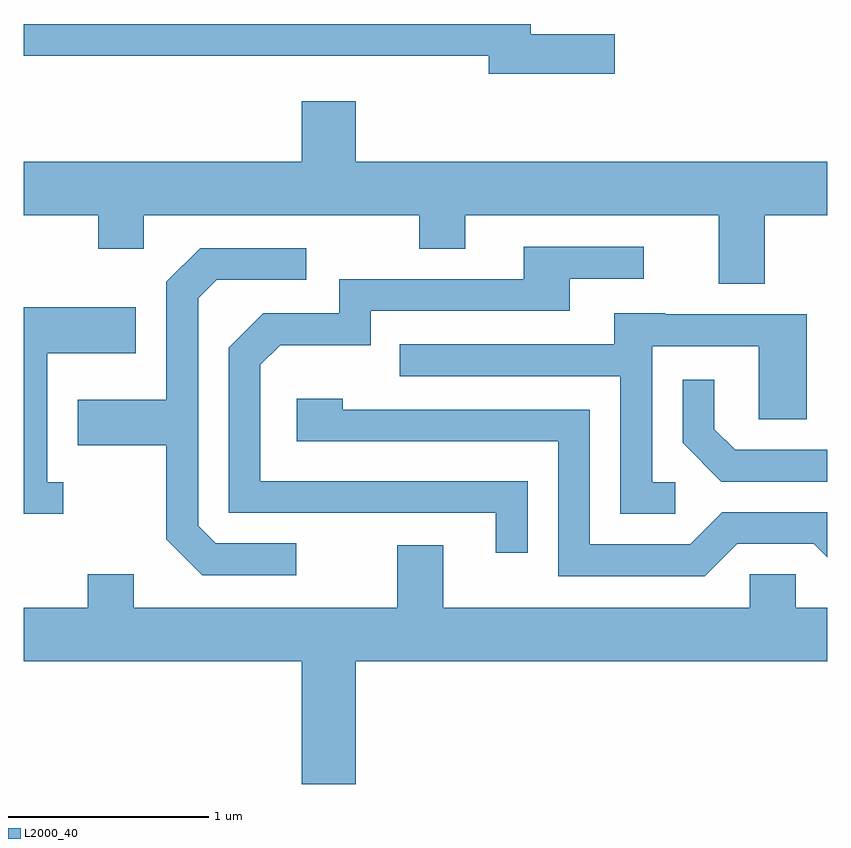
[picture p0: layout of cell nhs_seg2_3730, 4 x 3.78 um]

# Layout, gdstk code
import gdstk
lib = gdstk.Library(unit=1e-6, precision=1e-09)
def P(c, l, *ps):  # polygons
    for p in ps: c.add(gdstk.Polygon(p, *l))
L2000_40 = (2000, 40)

nhs_seg2_3730 = lib.new_cell('nhs_seg2_3730')
P(nhs_seg2_3730, L2000_40, [(296.554,1113.599),(296.134,1113.599),(296.134,1113.649),(293.611,1113.649),(293.611,1113.491),(295.926,1113.491),(295.926,1113.401),(296.554,1113.401)],
  [(297.299,1112.696),(297.611,1112.696),(297.611,1112.964),(295.264,1112.964),(295.264,1113.264),(294.996,1113.264),(294.996,1112.964),(293.611,1112.964),(293.611,1112.696),(293.981,1112.696),(293.981,1112.531),(294.209,1112.531),(294.209,1112.696),(295.581,1112.696),(295.581,1112.531),(295.809,1112.531),(295.809,1112.696),(297.071,1112.696),(297.071,1112.356),(297.299,1112.356)],
  [(296.119,1111.374),(294.789,1111.374),(294.789,1111.954),(294.887,1112.051),(295.339,1112.051),(295.339,1112.221),(296.329,1112.221),(296.329,1112.381),(296.698,1112.381),(296.698,1112.539),(296.101,1112.539),(296.101,1112.379),(295.181,1112.379),(295.181,1112.209),(294.804,1112.209),(294.631,1112.037),(294.631,1111.216),(295.961,1111.216),(295.961,1111.018),(296.119,1111.018)],
  [(294.968,1111.064),(294.567,1111.064),(294.479,1111.152),(294.479,1112.284),(294.572,1112.376),(295.018,1112.376),(295.018,1112.534),(294.489,1112.534),(294.321,1112.367),(294.321,1111.779),(293.881,1111.779),(293.881,1111.551),(294.321,1111.551),(294.321,1111.084),(294.499,1110.906),(294.968,1110.906)],
  [(293.808,1111.369),(293.729,1111.369),(293.729,1112.011),(294.169,1112.011),(294.169,1112.239),(293.611,1112.239),(293.611,1111.211),(293.808,1111.211)],
  [(296.853,1111.369),(296.739,1111.369),(296.739,1112.046),(297.271,1112.046),(297.271,1111.681),(297.509,1111.681),(297.509,1112.204),(296.805,1112.204),(296.805,1112.209),(296.551,1112.209),(296.551,1112.054),(295.483,1112.054),(295.483,1111.896),(296.581,1111.896),(296.581,1111.211),(296.853,1111.211)],
  [(297.611,1111.529),(297.152,1111.529),(297.049,1111.632),(297.049,1111.878),(296.891,1111.878),(296.891,1111.564),(297.084,1111.371),(297.611,1111.371)],
  [(297.162,1111.061),(297.544,1111.061),(297.611,1110.994),(297.611,1111.219),(297.089,1111.219),(296.929,1111.059),(296.429,1111.059),(296.429,1111.729),(295.199,1111.729),(295.199,1111.784),(294.971,1111.784),(294.971,1111.571),(296.271,1111.571),(296.271,1110.901),(297.002,1110.901)],
  [(295.264,1110.476),(297.611,1110.476),(297.611,1110.744),(297.454,1110.744),(297.454,1110.909),(297.226,1110.909),(297.226,1110.744),(295.699,1110.744),(295.699,1111.054),(295.471,1111.054),(295.471,1110.744),(294.159,1110.744),(294.159,1110.909),(293.931,1110.909),(293.931,1110.744),(293.611,1110.744),(293.611,1110.476),(294.996,1110.476),(294.996,1109.866),(295.264,1109.866)])

lib.write_gds('nhs_seg2_3730.gds')
